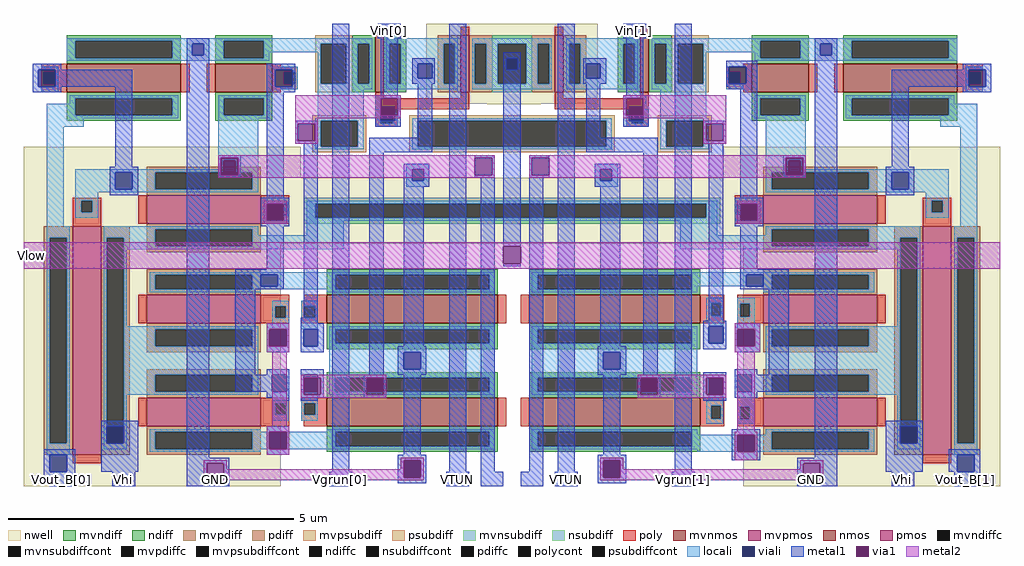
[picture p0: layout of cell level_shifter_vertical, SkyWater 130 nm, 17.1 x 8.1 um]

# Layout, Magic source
magic
tech sky130A
magscale 1 2
<< nwell >>
rect 8420 4490 9020 4770
rect 8633 4489 8821 4490
rect 7010 4230 7980 4340
rect 9460 4230 10430 4340
rect 7010 4000 10430 4230
rect 7010 3150 7910 4000
rect 9530 3150 10430 4000
<< nmos >>
rect 8240 4530 8270 4730
rect 9170 4530 9200 4730
<< pmos >>
rect 8540 4530 8570 4730
rect 8870 4530 8900 4730
<< mvnmos >>
rect 7160 4530 7560 4630
rect 7680 4530 7880 4630
rect 9560 4530 9760 4630
rect 9880 4530 10280 4630
rect 8070 3720 8670 3820
rect 8780 3720 9380 3820
rect 8070 3360 8670 3460
rect 8780 3360 9380 3460
<< mvpmos >>
rect 7440 4070 7840 4170
rect 9600 4070 10000 4170
rect 7180 3260 7280 4060
rect 7440 3720 7840 3820
rect 9600 3720 10000 3820
rect 7440 3360 7840 3460
rect 9600 3360 10000 3460
rect 10160 3260 10260 4060
<< ndiff >>
rect 8160 4700 8240 4730
rect 8160 4560 8180 4700
rect 8220 4560 8240 4700
rect 8160 4530 8240 4560
rect 8270 4700 8350 4730
rect 8270 4560 8290 4700
rect 8330 4560 8350 4700
rect 8270 4530 8350 4560
rect 9090 4700 9170 4730
rect 9090 4560 9110 4700
rect 9150 4560 9170 4700
rect 9090 4530 9170 4560
rect 9200 4700 9280 4730
rect 9200 4560 9220 4700
rect 9260 4560 9280 4700
rect 9200 4530 9280 4560
<< pdiff >>
rect 8460 4700 8540 4730
rect 8460 4560 8480 4700
rect 8520 4560 8540 4700
rect 8460 4530 8540 4560
rect 8570 4700 8650 4730
rect 8790 4700 8870 4730
rect 8570 4560 8590 4700
rect 8630 4560 8650 4700
rect 8790 4560 8810 4700
rect 8850 4560 8870 4700
rect 8570 4530 8650 4560
rect 8790 4530 8870 4560
rect 8900 4700 8980 4730
rect 8900 4560 8920 4700
rect 8960 4560 8980 4700
rect 8900 4530 8980 4560
<< mvndiff >>
rect 7160 4710 7560 4730
rect 7160 4650 7190 4710
rect 7530 4650 7560 4710
rect 7160 4630 7560 4650
rect 7680 4710 7880 4730
rect 7680 4650 7710 4710
rect 7850 4650 7880 4710
rect 7680 4630 7880 4650
rect 9560 4710 9760 4730
rect 9560 4650 9590 4710
rect 9730 4650 9760 4710
rect 9560 4630 9760 4650
rect 9880 4710 10280 4730
rect 9880 4650 9910 4710
rect 10250 4650 10280 4710
rect 9880 4630 10280 4650
rect 7160 4510 7560 4530
rect 7160 4450 7190 4510
rect 7530 4450 7560 4510
rect 7160 4430 7560 4450
rect 7680 4510 7880 4530
rect 7680 4450 7710 4510
rect 7850 4450 7880 4510
rect 7680 4430 7880 4450
rect 9560 4510 9760 4530
rect 9560 4450 9590 4510
rect 9730 4450 9760 4510
rect 9560 4430 9760 4450
rect 9880 4510 10280 4530
rect 9880 4450 9910 4510
rect 10250 4450 10280 4510
rect 9880 4430 10280 4450
rect 8070 3890 8670 3910
rect 8070 3840 8100 3890
rect 8640 3840 8670 3890
rect 8070 3820 8670 3840
rect 8780 3890 9380 3910
rect 8780 3840 8810 3890
rect 9350 3840 9380 3890
rect 8780 3820 9380 3840
rect 8070 3700 8670 3720
rect 8070 3650 8100 3700
rect 8640 3650 8670 3700
rect 8070 3630 8670 3650
rect 8780 3700 9380 3720
rect 8780 3650 8810 3700
rect 9350 3650 9380 3700
rect 8780 3630 9380 3650
rect 8070 3530 8670 3550
rect 8070 3480 8100 3530
rect 8640 3480 8670 3530
rect 8070 3460 8670 3480
rect 8780 3530 9380 3550
rect 8780 3480 8810 3530
rect 9350 3480 9380 3530
rect 8780 3460 9380 3480
rect 8070 3340 8670 3360
rect 8070 3290 8100 3340
rect 8640 3290 8670 3340
rect 8070 3270 8670 3290
rect 8780 3340 9380 3360
rect 8780 3290 8810 3340
rect 9350 3290 9380 3340
rect 8780 3270 9380 3290
<< mvpdiff >>
rect 7440 4250 7840 4270
rect 7440 4190 7470 4250
rect 7810 4190 7840 4250
rect 7440 4170 7840 4190
rect 9600 4250 10000 4270
rect 9600 4190 9630 4250
rect 9970 4190 10000 4250
rect 9600 4170 10000 4190
rect 7080 4020 7180 4060
rect 7080 3300 7100 4020
rect 7160 3300 7180 4020
rect 7080 3260 7180 3300
rect 7280 4020 7380 4060
rect 7280 3300 7300 4020
rect 7360 3300 7380 4020
rect 7440 4050 7840 4070
rect 7440 3990 7470 4050
rect 7810 3990 7840 4050
rect 7440 3970 7840 3990
rect 9600 4050 10000 4070
rect 9600 3990 9630 4050
rect 9970 3990 10000 4050
rect 9600 3970 10000 3990
rect 10060 4020 10160 4060
rect 7440 3890 7840 3910
rect 7440 3840 7470 3890
rect 7810 3840 7840 3890
rect 7440 3820 7840 3840
rect 9600 3890 10000 3910
rect 9600 3840 9630 3890
rect 9970 3840 10000 3890
rect 9600 3820 10000 3840
rect 7440 3700 7840 3720
rect 7440 3640 7470 3700
rect 7810 3640 7840 3700
rect 7440 3620 7840 3640
rect 9600 3700 10000 3720
rect 9600 3640 9630 3700
rect 9970 3640 10000 3700
rect 9600 3620 10000 3640
rect 7440 3540 7840 3560
rect 7440 3480 7470 3540
rect 7810 3480 7840 3540
rect 7440 3460 7840 3480
rect 9600 3540 10000 3560
rect 9600 3480 9630 3540
rect 9970 3480 10000 3540
rect 9600 3460 10000 3480
rect 7280 3260 7380 3300
rect 7440 3340 7840 3360
rect 7440 3280 7470 3340
rect 7810 3280 7840 3340
rect 7440 3260 7840 3280
rect 9600 3340 10000 3360
rect 9600 3280 9630 3340
rect 9970 3280 10000 3340
rect 9600 3260 10000 3280
rect 10060 3300 10080 4020
rect 10140 3300 10160 4020
rect 10060 3260 10160 3300
rect 10260 4020 10360 4060
rect 10260 3300 10280 4020
rect 10340 3300 10360 4020
rect 10260 3260 10360 3300
<< ndiffc >>
rect 8180 4560 8220 4700
rect 8290 4560 8330 4700
rect 9110 4560 9150 4700
rect 9220 4560 9260 4700
<< pdiffc >>
rect 8480 4560 8520 4700
rect 8590 4560 8630 4700
rect 8810 4560 8850 4700
rect 8920 4560 8960 4700
<< mvndiffc >>
rect 7190 4650 7530 4710
rect 7710 4650 7850 4710
rect 9590 4650 9730 4710
rect 9910 4650 10250 4710
rect 7190 4450 7530 4510
rect 7710 4450 7850 4510
rect 9590 4450 9730 4510
rect 9910 4450 10250 4510
rect 8100 3840 8640 3890
rect 8810 3840 9350 3890
rect 8100 3650 8640 3700
rect 8810 3650 9350 3700
rect 8100 3480 8640 3530
rect 8810 3480 9350 3530
rect 8100 3290 8640 3340
rect 8810 3290 9350 3340
<< mvpdiffc >>
rect 7470 4190 7810 4250
rect 9630 4190 9970 4250
rect 7100 3300 7160 4020
rect 7300 3300 7360 4020
rect 7470 3990 7810 4050
rect 9630 3990 9970 4050
rect 7470 3840 7810 3890
rect 9630 3840 9970 3890
rect 7470 3640 7810 3700
rect 9630 3640 9970 3700
rect 7470 3480 7810 3540
rect 9630 3480 9970 3540
rect 7470 3280 7810 3340
rect 9630 3280 9970 3340
rect 10080 3300 10140 4020
rect 10280 3300 10340 4020
<< psubdiff >>
rect 8030 4700 8160 4730
rect 8030 4560 8050 4700
rect 8140 4560 8160 4700
rect 8030 4530 8160 4560
rect 9280 4700 9410 4730
rect 9280 4560 9300 4700
rect 9390 4560 9410 4700
rect 9280 4530 9410 4560
<< nsubdiff >>
rect 8650 4700 8790 4730
rect 8650 4560 8670 4700
rect 8770 4560 8790 4700
rect 8650 4530 8790 4560
<< mvpsubdiff >>
rect 8020 4430 8210 4450
rect 8020 4340 8050 4430
rect 8180 4340 8210 4430
rect 8360 4430 9080 4450
rect 8020 4320 8210 4340
rect 8360 4340 8390 4430
rect 9050 4340 9080 4430
rect 9230 4430 9420 4450
rect 8360 4320 9080 4340
rect 9230 4340 9260 4430
rect 9390 4340 9420 4430
rect 9230 4320 9420 4340
<< mvnsubdiff >>
rect 7990 4140 9450 4160
rect 7990 4090 8030 4140
rect 9400 4090 9450 4140
rect 7990 4070 9450 4090
<< psubdiffcont >>
rect 8050 4560 8140 4700
rect 9300 4560 9390 4700
<< nsubdiffcont >>
rect 8670 4560 8770 4700
<< mvpsubdiffcont >>
rect 8050 4340 8180 4430
rect 8390 4340 9050 4430
rect 9260 4340 9390 4430
<< mvnsubdiffcont >>
rect 8030 4090 9400 4140
<< poly >>
rect 8240 4730 8270 4760
rect 8540 4730 8570 4760
rect 8870 4730 8900 4760
rect 9170 4730 9200 4760
rect 7070 4600 7160 4630
rect 7070 4560 7080 4600
rect 7120 4560 7160 4600
rect 7070 4530 7160 4560
rect 7560 4530 7590 4630
rect 7650 4530 7680 4630
rect 7880 4620 7910 4630
rect 7880 4600 7970 4620
rect 7880 4560 7922 4600
rect 7960 4560 7970 4600
rect 7880 4540 7970 4560
rect 7880 4530 7910 4540
rect 9530 4620 9560 4630
rect 9470 4600 9560 4620
rect 9470 4560 9480 4600
rect 9518 4560 9560 4600
rect 9470 4540 9560 4560
rect 9530 4530 9560 4540
rect 9760 4530 9790 4630
rect 9850 4530 9880 4630
rect 10280 4600 10370 4630
rect 10280 4560 10320 4600
rect 10360 4560 10370 4600
rect 10280 4530 10370 4560
rect 8240 4510 8270 4530
rect 8540 4510 8570 4530
rect 8240 4470 8570 4510
rect 8870 4510 8900 4530
rect 9170 4510 9200 4530
rect 8870 4470 9200 4510
rect 8240 4460 8320 4470
rect 8240 4422 8260 4460
rect 8300 4422 8320 4460
rect 9120 4460 9200 4470
rect 8240 4410 8320 4422
rect 9120 4422 9140 4460
rect 9180 4422 9200 4460
rect 9120 4410 9200 4422
rect 7180 4150 7280 4160
rect 7180 4110 7210 4150
rect 7250 4110 7280 4150
rect 7180 4060 7280 4110
rect 7410 4070 7440 4170
rect 7840 4140 7940 4170
rect 7840 4100 7890 4140
rect 7930 4100 7940 4140
rect 7840 4070 7940 4100
rect 9500 4140 9600 4170
rect 9500 4100 9510 4140
rect 9550 4100 9600 4140
rect 9500 4070 9600 4100
rect 10000 4070 10030 4170
rect 10160 4150 10260 4160
rect 10160 4110 10190 4150
rect 10230 4110 10260 4150
rect 10160 4060 10260 4110
rect 7410 3720 7440 3820
rect 7840 3780 7940 3820
rect 7990 3800 8070 3820
rect 7840 3740 7890 3780
rect 7928 3740 7940 3780
rect 7840 3720 7940 3740
rect 7982 3780 8070 3800
rect 7982 3740 7992 3780
rect 8030 3740 8070 3780
rect 7982 3720 8070 3740
rect 8670 3720 8700 3820
rect 8750 3720 8780 3820
rect 9380 3791 9463 3820
rect 9380 3747 9418 3791
rect 9452 3747 9463 3791
rect 9380 3720 9463 3747
rect 9509 3789 9600 3820
rect 9509 3744 9519 3789
rect 9553 3744 9600 3789
rect 9509 3720 9600 3744
rect 10000 3720 10030 3820
rect 7410 3360 7440 3460
rect 7840 3440 7940 3460
rect 7840 3400 7890 3440
rect 7928 3400 7940 3440
rect 7840 3360 7940 3400
rect 7982 3440 8070 3460
rect 7982 3400 7992 3440
rect 8030 3400 8070 3440
rect 7982 3380 8070 3400
rect 7990 3360 8070 3380
rect 8670 3360 8700 3460
rect 8750 3360 8780 3460
rect 9380 3431 9463 3460
rect 9380 3387 9418 3431
rect 9452 3387 9463 3431
rect 9380 3360 9463 3387
rect 9509 3429 9600 3460
rect 9509 3384 9519 3429
rect 9553 3384 9600 3429
rect 9509 3360 9600 3384
rect 10000 3360 10030 3460
rect 7180 3230 7280 3260
rect 10160 3230 10260 3260
<< polycont >>
rect 7080 4560 7120 4600
rect 7922 4560 7960 4600
rect 9480 4560 9518 4600
rect 10320 4560 10360 4600
rect 8260 4422 8300 4460
rect 9140 4422 9180 4460
rect 7210 4110 7250 4150
rect 7890 4100 7930 4140
rect 9510 4100 9550 4140
rect 10190 4110 10230 4150
rect 7890 3740 7928 3780
rect 7992 3740 8030 3780
rect 9418 3747 9452 3791
rect 9519 3744 9553 3789
rect 7890 3400 7928 3440
rect 7992 3400 8030 3440
rect 9418 3387 9452 3431
rect 9519 3384 9553 3429
<< locali >>
rect 7160 4710 8230 4720
rect 7160 4650 7190 4710
rect 7530 4700 7710 4710
rect 7530 4660 7600 4700
rect 7640 4660 7710 4700
rect 7530 4650 7710 4660
rect 7850 4700 8230 4710
rect 7850 4670 8050 4700
rect 7850 4650 7870 4670
rect 7160 4640 7870 4650
rect 7070 4610 7130 4620
rect 7910 4610 7970 4620
rect 7120 4550 7130 4610
rect 7950 4600 7970 4610
rect 7960 4560 7970 4600
rect 7950 4550 7970 4560
rect 7070 4530 7130 4550
rect 7910 4540 7970 4550
rect 8040 4560 8050 4670
rect 8140 4560 8180 4700
rect 8220 4560 8230 4700
rect 8040 4540 8230 4560
rect 8280 4700 8530 4720
rect 8280 4560 8290 4700
rect 8330 4630 8480 4700
rect 8330 4580 8390 4630
rect 8440 4580 8480 4630
rect 8330 4560 8480 4580
rect 8520 4560 8530 4700
rect 8280 4540 8530 4560
rect 8580 4700 8860 4720
rect 8580 4560 8590 4700
rect 8630 4560 8670 4700
rect 8770 4560 8810 4700
rect 8850 4560 8860 4700
rect 8580 4540 8860 4560
rect 8910 4700 9160 4720
rect 8910 4560 8920 4700
rect 8960 4630 9110 4700
rect 8960 4580 8980 4630
rect 9030 4580 9110 4630
rect 8960 4560 9110 4580
rect 9150 4560 9160 4700
rect 8910 4540 9160 4560
rect 9210 4710 10280 4720
rect 9210 4700 9590 4710
rect 9210 4560 9220 4700
rect 9260 4560 9300 4700
rect 9390 4670 9590 4700
rect 9390 4560 9400 4670
rect 9570 4650 9590 4670
rect 9730 4700 9910 4710
rect 9730 4660 9800 4700
rect 9840 4660 9910 4700
rect 9730 4650 9910 4660
rect 10250 4650 10280 4710
rect 9570 4640 10280 4650
rect 9210 4540 9400 4560
rect 9470 4560 9480 4620
rect 10310 4610 10370 4620
rect 9470 4540 9530 4560
rect 10310 4550 10320 4610
rect 7170 4510 7550 4520
rect 7170 4490 7190 4510
rect 7090 4450 7190 4490
rect 7530 4450 7550 4510
rect 7090 4440 7550 4450
rect 7690 4510 7870 4520
rect 7690 4450 7710 4510
rect 7850 4450 7870 4510
rect 7690 4440 7870 4450
rect 8040 4440 8200 4540
rect 7090 4410 7220 4440
rect 7090 4060 7150 4410
rect 7690 4290 7830 4440
rect 8030 4430 8200 4440
rect 8030 4340 8050 4430
rect 8180 4340 8200 4430
rect 8240 4422 8260 4470
rect 8310 4430 8320 4470
rect 8300 4422 8320 4430
rect 8240 4410 8320 4422
rect 8370 4430 9070 4440
rect 8030 4330 8200 4340
rect 8370 4340 8390 4430
rect 9050 4340 9070 4430
rect 9120 4430 9130 4470
rect 9120 4422 9140 4430
rect 9180 4422 9200 4470
rect 9120 4410 9200 4422
rect 9240 4440 9400 4540
rect 10310 4530 10370 4550
rect 9570 4510 9750 4520
rect 9570 4450 9590 4510
rect 9730 4450 9750 4510
rect 9570 4440 9750 4450
rect 9890 4510 10270 4520
rect 9890 4450 9910 4510
rect 10250 4490 10270 4510
rect 10250 4450 10350 4490
rect 9890 4440 10350 4450
rect 9240 4430 9410 4440
rect 8370 4330 9070 4340
rect 9240 4340 9260 4430
rect 9390 4340 9410 4430
rect 9240 4330 9410 4340
rect 7690 4260 7710 4290
rect 7190 4250 7710 4260
rect 7750 4250 7830 4290
rect 9610 4290 9750 4440
rect 10220 4410 10350 4440
rect 7190 4190 7330 4250
rect 7390 4190 7470 4250
rect 7810 4190 7830 4250
rect 8350 4260 8430 4280
rect 8350 4220 8370 4260
rect 8410 4220 8430 4260
rect 8350 4200 8430 4220
rect 9010 4260 9090 4280
rect 9010 4220 9030 4260
rect 9070 4220 9090 4260
rect 9010 4200 9090 4220
rect 9610 4250 9690 4290
rect 9730 4260 9750 4290
rect 9730 4250 10250 4260
rect 7190 4180 7830 4190
rect 9610 4190 9630 4250
rect 9970 4190 10050 4250
rect 10110 4190 10250 4250
rect 9610 4180 10250 4190
rect 7190 4150 7270 4180
rect 7190 4110 7210 4150
rect 7250 4110 7270 4150
rect 7190 4090 7270 4110
rect 7860 4140 7940 4160
rect 7930 4100 7940 4140
rect 7920 4080 7940 4100
rect 8000 4140 9440 4150
rect 8000 4090 8030 4140
rect 9400 4090 9440 4140
rect 8000 4080 9440 4090
rect 9500 4140 9580 4160
rect 9500 4100 9510 4140
rect 9500 4080 9520 4100
rect 10170 4150 10250 4180
rect 10170 4110 10190 4150
rect 10230 4110 10250 4150
rect 10170 4090 10250 4110
rect 7090 4020 7170 4060
rect 7090 3300 7100 4020
rect 7160 3300 7170 4020
rect 7090 3260 7170 3300
rect 7290 4050 7830 4060
rect 7290 4020 7470 4050
rect 7290 3300 7300 4020
rect 7360 3990 7470 4020
rect 7810 4030 7830 4050
rect 8000 4030 8130 4080
rect 7810 3990 8130 4030
rect 7360 3980 8130 3990
rect 9310 4030 9440 4080
rect 10290 4060 10350 4410
rect 9610 4050 10150 4060
rect 9610 4030 9630 4050
rect 9310 3990 9630 4030
rect 9970 4020 10150 4050
rect 9970 3990 10080 4020
rect 9310 3980 10080 3990
rect 7360 3710 7370 3980
rect 7450 3890 8660 3900
rect 7450 3840 7470 3890
rect 7810 3850 7840 3890
rect 7900 3850 8100 3890
rect 7810 3840 8100 3850
rect 8640 3840 8660 3890
rect 7450 3830 7840 3840
rect 8070 3830 8660 3840
rect 8790 3890 9990 3900
rect 8790 3840 8810 3890
rect 9350 3850 9540 3890
rect 9350 3840 9370 3850
rect 8790 3830 9370 3840
rect 9600 3840 9630 3890
rect 9970 3840 9990 3890
rect 9600 3830 9990 3840
rect 7880 3780 7938 3800
rect 7880 3740 7890 3780
rect 7928 3740 7938 3780
rect 7982 3780 8040 3800
rect 7982 3740 7992 3780
rect 8030 3740 8040 3780
rect 7360 3700 7830 3710
rect 7880 3700 7940 3740
rect 7980 3700 8040 3740
rect 9400 3791 9460 3810
rect 9400 3747 9418 3791
rect 9452 3747 9460 3791
rect 9400 3729 9460 3747
rect 9410 3710 9460 3729
rect 7360 3640 7470 3700
rect 7810 3640 7830 3700
rect 8080 3700 8660 3710
rect 8080 3650 8100 3700
rect 8640 3650 8660 3700
rect 7360 3540 7830 3640
rect 8080 3620 8660 3650
rect 8080 3560 8340 3620
rect 8400 3560 8660 3620
rect 7360 3480 7470 3540
rect 7810 3480 7830 3540
rect 7360 3470 7830 3480
rect 7930 3480 7940 3490
rect 7360 3300 7370 3470
rect 7880 3450 7940 3480
rect 7980 3480 7990 3490
rect 7980 3450 8040 3480
rect 8080 3530 8660 3560
rect 8080 3480 8100 3530
rect 8640 3480 8660 3530
rect 8080 3470 8660 3480
rect 8790 3700 9370 3710
rect 8790 3650 8810 3700
rect 9350 3650 9370 3700
rect 9510 3789 9570 3810
rect 9510 3744 9519 3789
rect 9553 3744 9570 3789
rect 9510 3700 9570 3744
rect 10070 3710 10080 3980
rect 8790 3620 9370 3650
rect 9610 3700 10080 3710
rect 9610 3640 9630 3700
rect 9970 3640 10080 3700
rect 8790 3560 9040 3620
rect 9100 3560 9370 3620
rect 8790 3530 9370 3560
rect 9610 3540 10080 3640
rect 8790 3480 8810 3530
rect 9350 3480 9370 3530
rect 8790 3470 9370 3480
rect 9410 3450 9460 3470
rect 7880 3440 7938 3450
rect 7880 3400 7890 3440
rect 7928 3400 7938 3440
rect 7880 3380 7938 3400
rect 7982 3440 8040 3450
rect 7982 3400 7992 3440
rect 8030 3400 8040 3440
rect 7982 3380 8040 3400
rect 9400 3431 9460 3450
rect 9400 3387 9418 3431
rect 9452 3387 9460 3431
rect 9400 3369 9460 3387
rect 9510 3450 9560 3480
rect 9610 3480 9630 3540
rect 9970 3480 10080 3540
rect 9610 3470 10080 3480
rect 9510 3429 9570 3450
rect 9510 3384 9519 3429
rect 9553 3384 9570 3429
rect 9510 3368 9570 3384
rect 7290 3280 7370 3300
rect 7450 3340 7840 3350
rect 8070 3340 8660 3350
rect 7450 3280 7470 3340
rect 7810 3280 7870 3340
rect 7930 3290 8100 3340
rect 8640 3290 8660 3340
rect 7930 3280 8660 3290
rect 8790 3340 9370 3350
rect 9610 3340 9990 3350
rect 8790 3290 8810 3340
rect 9350 3330 9371 3340
rect 9610 3330 9630 3340
rect 9350 3290 9510 3330
rect 8790 3280 9510 3290
rect 7450 3270 7840 3280
rect 9370 3270 9510 3280
rect 9570 3280 9630 3330
rect 9970 3280 9990 3340
rect 10070 3300 10080 3470
rect 10140 3300 10150 4020
rect 10070 3280 10150 3300
rect 10270 4020 10350 4060
rect 10270 3300 10280 4020
rect 10340 3300 10350 4020
rect 9570 3270 9990 3280
rect 10270 3260 10350 3300
<< viali >>
rect 7600 4660 7640 4700
rect 7060 4600 7120 4610
rect 7060 4560 7080 4600
rect 7080 4560 7120 4600
rect 7060 4550 7120 4560
rect 7890 4600 7950 4610
rect 7890 4560 7922 4600
rect 7922 4560 7950 4600
rect 7890 4550 7950 4560
rect 8390 4580 8440 4630
rect 8700 4610 8740 4650
rect 8980 4580 9030 4630
rect 9800 4660 9840 4700
rect 9480 4600 9540 4620
rect 9480 4560 9518 4600
rect 9518 4560 9540 4600
rect 10320 4600 10380 4610
rect 10320 4560 10360 4600
rect 10360 4560 10380 4600
rect 10320 4550 10380 4560
rect 8260 4460 8310 4480
rect 8260 4430 8300 4460
rect 8300 4430 8310 4460
rect 9130 4460 9180 4480
rect 9130 4430 9140 4460
rect 9140 4430 9180 4460
rect 7710 4250 7750 4290
rect 7330 4190 7390 4250
rect 8370 4220 8410 4260
rect 9030 4220 9070 4260
rect 9690 4250 9730 4290
rect 10050 4190 10110 4250
rect 7860 4100 7890 4140
rect 7890 4100 7920 4140
rect 7860 4080 7920 4100
rect 9520 4100 9550 4140
rect 9550 4100 9580 4140
rect 9520 4080 9580 4100
rect 7840 3850 7900 3890
rect 9540 3850 9600 3890
rect 7870 3640 7930 3700
rect 7990 3640 8040 3700
rect 8340 3560 8400 3620
rect 7880 3480 7930 3540
rect 7300 3300 7360 3360
rect 7990 3480 8040 3540
rect 9410 3650 9460 3710
rect 9510 3640 9570 3700
rect 9040 3560 9100 3620
rect 9410 3470 9460 3530
rect 9510 3480 9560 3540
rect 7870 3280 7930 3340
rect 9510 3270 9570 3330
rect 10080 3300 10140 3360
rect 7100 3200 7160 3260
rect 8340 3180 8400 3240
rect 9040 3180 9100 3240
rect 10280 3200 10340 3260
<< metal1 >>
rect 7580 4700 7660 4720
rect 7580 4660 7600 4700
rect 7640 4660 7660 4700
rect 7040 4610 7140 4630
rect 7040 4550 7060 4610
rect 7120 4550 7390 4610
rect 7040 4530 7140 4550
rect 7330 4270 7390 4550
rect 7310 4250 7410 4270
rect 7310 4190 7330 4250
rect 7390 4190 7410 4250
rect 7310 4170 7410 4190
rect 7280 3360 7410 3380
rect 7280 3300 7300 3360
rect 7360 3300 7410 3360
rect 7080 3260 7190 3280
rect 7080 3200 7100 3260
rect 7160 3200 7190 3260
rect 7280 3200 7410 3300
rect 7580 3250 7660 4660
rect 7860 4610 7960 4630
rect 7860 4550 7890 4610
rect 7950 4550 7960 4610
rect 7860 4530 7960 4550
rect 7690 4300 7770 4310
rect 7690 4240 7700 4300
rect 7760 4240 7770 4300
rect 7690 4230 7770 4240
rect 7860 4160 7920 4530
rect 7960 4420 8040 4430
rect 7960 4360 7970 4420
rect 8030 4360 8040 4420
rect 7960 4350 8040 4360
rect 7840 4140 7940 4160
rect 7840 4080 7860 4140
rect 7920 4080 7940 4140
rect 7840 4060 7940 4080
rect 7860 3910 7920 4060
rect 7750 3890 7920 3910
rect 7750 3850 7840 3890
rect 7900 3850 7920 3890
rect 7750 3840 7920 3850
rect 7750 3540 7820 3840
rect 7990 3740 8040 4350
rect 7980 3720 8040 3740
rect 7860 3700 7940 3720
rect 7860 3640 7870 3700
rect 7930 3640 7940 3700
rect 7860 3620 7940 3640
rect 7980 3700 8060 3720
rect 7980 3640 7990 3700
rect 8040 3640 8060 3700
rect 7980 3620 8060 3640
rect 7860 3540 7940 3560
rect 7750 3480 7880 3540
rect 7930 3480 7940 3540
rect 7860 3460 7940 3480
rect 7880 3450 7940 3460
rect 7980 3540 8060 3560
rect 7980 3470 7990 3540
rect 8040 3530 8060 3540
rect 8050 3470 8060 3530
rect 7980 3460 8060 3470
rect 7980 3450 8040 3460
rect 7860 3340 7940 3360
rect 7860 3280 7870 3340
rect 7930 3280 7940 3340
rect 7860 3260 7940 3280
rect 7580 3230 7730 3250
rect 7080 3190 7190 3200
rect 7080 3180 7180 3190
rect 7100 3150 7180 3180
rect 7320 3150 7400 3200
rect 7580 3170 7650 3230
rect 7710 3170 7730 3230
rect 8090 3200 8150 4770
rect 8250 4720 8330 4770
rect 8260 4520 8320 4720
rect 8370 4630 8450 4650
rect 8370 4580 8390 4630
rect 8440 4580 8450 4630
rect 8370 4560 8450 4580
rect 8240 4510 8330 4520
rect 8240 4430 8260 4510
rect 8320 4450 8330 4510
rect 8310 4430 8330 4450
rect 8240 4410 8330 4430
rect 8390 4370 8440 4560
rect 8220 4320 8440 4370
rect 8220 3540 8270 4320
rect 8340 4260 8430 4280
rect 8340 4220 8370 4260
rect 8410 4220 8430 4260
rect 8340 4200 8430 4220
rect 8340 3640 8410 4200
rect 8320 3620 8420 3640
rect 8320 3560 8340 3620
rect 8400 3560 8420 3620
rect 8320 3540 8420 3560
rect 8200 3530 8280 3540
rect 8200 3470 8210 3530
rect 8270 3470 8280 3530
rect 8200 3460 8280 3470
rect 8340 3260 8400 3540
rect 8320 3240 8420 3260
rect 7580 3150 7730 3170
rect 8080 3150 8160 3200
rect 8320 3180 8340 3240
rect 8400 3180 8420 3240
rect 8500 3200 8560 4770
rect 8690 4650 8750 4670
rect 8690 4610 8700 4650
rect 8740 4610 8750 4650
rect 8590 4300 8660 4310
rect 8650 4240 8660 4300
rect 8590 4230 8660 4240
rect 8610 3200 8660 4230
rect 8690 3990 8750 4610
rect 8690 3920 8750 3930
rect 8780 4300 8850 4310
rect 8780 4240 8790 4300
rect 8780 4230 8850 4240
rect 8780 3200 8830 4230
rect 8880 3200 8940 4770
rect 9110 4720 9190 4770
rect 8970 4630 9050 4650
rect 8970 4580 8980 4630
rect 9030 4580 9050 4630
rect 8970 4560 9050 4580
rect 8980 4370 9030 4560
rect 9120 4520 9180 4720
rect 9110 4510 9190 4520
rect 9110 4450 9120 4510
rect 9180 4480 9190 4510
rect 9110 4430 9130 4450
rect 9180 4430 9200 4480
rect 9110 4410 9200 4430
rect 8980 4320 9230 4370
rect 9010 4260 9100 4280
rect 9010 4220 9030 4260
rect 9070 4220 9100 4260
rect 9010 4200 9100 4220
rect 9030 3640 9100 4200
rect 9020 3620 9120 3640
rect 9020 3560 9040 3620
rect 9100 3560 9120 3620
rect 9020 3540 9120 3560
rect 9180 3540 9230 4320
rect 9040 3260 9100 3540
rect 9160 3530 9240 3540
rect 9160 3470 9170 3530
rect 9230 3470 9240 3530
rect 9160 3460 9240 3470
rect 9020 3240 9120 3260
rect 8320 3160 8420 3180
rect 8490 3150 8570 3200
rect 8610 3150 8690 3200
rect 8750 3150 8830 3200
rect 8870 3150 8950 3200
rect 9020 3180 9040 3240
rect 9100 3180 9120 3240
rect 9290 3200 9350 4770
rect 9780 4700 9860 4720
rect 9780 4660 9800 4700
rect 9840 4660 9860 4700
rect 9470 4620 9580 4640
rect 9470 4560 9480 4620
rect 9540 4560 9580 4620
rect 9470 4550 9580 4560
rect 9480 4540 9580 4550
rect 9390 4420 9470 4430
rect 9390 4360 9400 4420
rect 9460 4360 9470 4420
rect 9390 4350 9470 4360
rect 9410 3730 9460 4350
rect 9520 4160 9580 4540
rect 9670 4300 9750 4310
rect 9670 4240 9680 4300
rect 9740 4240 9750 4300
rect 9670 4230 9750 4240
rect 9500 4140 9600 4160
rect 9500 4080 9520 4140
rect 9580 4080 9600 4140
rect 9500 4060 9600 4080
rect 9520 3910 9580 4060
rect 9520 3890 9690 3910
rect 9520 3850 9540 3890
rect 9600 3850 9690 3890
rect 9520 3840 9690 3850
rect 9390 3710 9470 3730
rect 9390 3650 9410 3710
rect 9460 3650 9470 3710
rect 9390 3630 9470 3650
rect 9500 3700 9590 3720
rect 9500 3640 9510 3700
rect 9570 3640 9590 3700
rect 9500 3620 9590 3640
rect 9390 3530 9470 3550
rect 9390 3470 9400 3530
rect 9460 3470 9470 3530
rect 9390 3450 9470 3470
rect 9500 3540 9580 3560
rect 9620 3540 9690 3840
rect 9500 3480 9510 3540
rect 9560 3480 9690 3540
rect 9500 3460 9580 3480
rect 9490 3330 9590 3350
rect 9490 3270 9510 3330
rect 9570 3270 9590 3330
rect 9490 3240 9590 3270
rect 9780 3250 9860 4660
rect 10300 4610 10400 4630
rect 10050 4550 10320 4610
rect 10380 4550 10400 4610
rect 10050 4270 10110 4550
rect 10300 4530 10400 4550
rect 10030 4250 10130 4270
rect 10030 4190 10050 4250
rect 10110 4190 10130 4250
rect 10030 4170 10130 4190
rect 9720 3230 9860 3250
rect 9020 3160 9120 3180
rect 9280 3150 9360 3200
rect 9720 3170 9740 3230
rect 9800 3170 9860 3230
rect 10030 3360 10160 3380
rect 10030 3300 10080 3360
rect 10140 3300 10160 3360
rect 10030 3200 10160 3300
rect 10250 3260 10360 3280
rect 10250 3200 10280 3260
rect 10340 3200 10360 3260
rect 9720 3150 9860 3170
rect 10050 3150 10130 3200
rect 10270 3180 10360 3200
rect 10270 3150 10350 3180
<< via1 >>
rect 7700 4290 7760 4300
rect 7700 4250 7710 4290
rect 7710 4250 7750 4290
rect 7750 4250 7760 4290
rect 7700 4240 7760 4250
rect 7970 4360 8030 4420
rect 7860 4080 7920 4140
rect 7870 3640 7930 3700
rect 7990 3480 8040 3530
rect 8040 3480 8050 3530
rect 7990 3470 8050 3480
rect 7870 3280 7930 3340
rect 7650 3170 7710 3230
rect 8260 4480 8320 4510
rect 8260 4450 8310 4480
rect 8310 4450 8320 4480
rect 8210 3470 8270 3530
rect 8340 3180 8400 3240
rect 8590 4240 8650 4300
rect 8690 3930 8750 3990
rect 8790 4240 8850 4300
rect 9120 4480 9180 4510
rect 9120 4450 9130 4480
rect 9130 4450 9180 4480
rect 9170 3470 9230 3530
rect 9040 3180 9100 3240
rect 9400 4360 9460 4420
rect 9680 4290 9740 4300
rect 9680 4250 9690 4290
rect 9690 4250 9730 4290
rect 9730 4250 9740 4290
rect 9680 4240 9740 4250
rect 9520 4080 9580 4140
rect 9510 3640 9570 3700
rect 9400 3470 9410 3530
rect 9410 3470 9460 3530
rect 9510 3270 9570 3330
rect 9740 3170 9800 3230
<< metal2 >>
rect 7960 4510 8330 4520
rect 7960 4450 8260 4510
rect 8320 4450 8330 4510
rect 7960 4440 8330 4450
rect 9110 4510 9470 4520
rect 9110 4450 9120 4510
rect 9180 4450 9470 4510
rect 9110 4440 9470 4450
rect 7960 4420 8040 4440
rect 7960 4360 7970 4420
rect 8030 4360 8040 4420
rect 7960 4350 8040 4360
rect 9390 4420 9470 4440
rect 9390 4360 9400 4420
rect 9460 4360 9470 4420
rect 9390 4350 9470 4360
rect 7690 4300 8660 4310
rect 7690 4240 7700 4300
rect 7760 4240 8590 4300
rect 8650 4240 8660 4300
rect 7690 4230 8660 4240
rect 8780 4300 9750 4310
rect 8780 4240 8790 4300
rect 8850 4240 9680 4300
rect 9740 4240 9750 4300
rect 8780 4230 9750 4240
rect 7850 4140 7930 4150
rect 7850 4080 7860 4140
rect 7920 4080 7930 4140
rect 7850 4070 7930 4080
rect 9510 4140 9590 4150
rect 9510 4080 9520 4140
rect 9580 4080 9590 4140
rect 9510 4070 9590 4080
rect 7010 3990 10430 4004
rect 7010 3930 8690 3990
rect 8750 3930 10430 3990
rect 7010 3912 10430 3930
rect 7860 3700 7940 3720
rect 7860 3640 7870 3700
rect 7930 3640 7940 3700
rect 7860 3620 7940 3640
rect 9500 3700 9590 3720
rect 9500 3640 9510 3700
rect 9570 3640 9590 3700
rect 9500 3620 9590 3640
rect 7880 3360 7930 3620
rect 7980 3530 8280 3540
rect 7980 3470 7990 3530
rect 8050 3470 8210 3530
rect 8270 3470 8280 3530
rect 7980 3460 8280 3470
rect 9160 3530 9470 3540
rect 9160 3470 9170 3530
rect 9230 3470 9400 3530
rect 9460 3470 9470 3530
rect 9160 3460 9470 3470
rect 7860 3340 7940 3360
rect 9510 3340 9570 3620
rect 7860 3280 7870 3340
rect 7930 3280 7940 3340
rect 7860 3260 7940 3280
rect 9500 3330 9580 3340
rect 9500 3270 9510 3330
rect 9570 3270 9580 3330
rect 8330 3240 8410 3250
rect 7640 3230 7720 3240
rect 7640 3170 7650 3230
rect 7710 3210 7720 3230
rect 8330 3210 8340 3240
rect 7710 3180 8340 3210
rect 8400 3180 8410 3240
rect 7710 3170 8410 3180
rect 9030 3240 9110 3250
rect 9500 3240 9580 3270
rect 9030 3180 9040 3240
rect 9100 3210 9110 3240
rect 9730 3230 9810 3240
rect 9730 3210 9740 3230
rect 9100 3180 9740 3210
rect 9030 3170 9740 3180
rect 9800 3170 9810 3230
rect 7640 3160 7720 3170
rect 9730 3160 9810 3170
<< labels >>
flabel metal1 7320 3150 7400 3200 0 FreeSans 120 0 0 0 Vhi
port 3 nsew
flabel metal1 10050 3150 10130 3200 0 FreeSans 120 180 0 0 Vhi
port 3 nsew
flabel metal1 8080 3150 8160 3200 0 FreeSans 120 0 0 0 Vgrun[0]
port 1 nsew
flabel metal1 8490 3150 8570 3200 0 FreeSans 120 0 0 0 VTUN
port 11 nsew
flabel metal1 9280 3150 9360 3200 0 FreeSans 120 0 0 0 Vgrun[1]
port 2 nsew
flabel metal1 8870 3150 8950 3200 0 FreeSans 120 0 0 0 VTUN
port 11 nsew
flabel metal1 8250 4720 8330 4770 0 FreeSans 120 0 0 0 Vin[0]
port 4 nsew
flabel metal1 9110 4720 9190 4770 0 FreeSans 120 0 0 0 Vin[1]
port 5 nsew
flabel metal1 8610 3150 8690 3200 0 FreeSans 120 0 0 0 Vout[0]
port 7 nsew
flabel metal1 8750 3150 8830 3200 0 FreeSans 120 0 0 0 Vout[1]
port 8 nsew
flabel metal2 7010 3912 7060 4004 0 FreeSans 120 0 0 0 Vlow
port 6 nsew
flabel metal1 9730 3150 9810 3200 0 FreeSans 120 0 0 0 GND
port 0 nsew
flabel metal1 7640 3150 7720 3200 0 FreeSans 120 0 0 0 GND
port 0 nsew
flabel metal1 7100 3150 7180 3200 0 FreeSans 120 0 0 0 Vout_B[0]
port 9 nsew
flabel metal1 10270 3150 10350 3200 0 FreeSans 120 0 0 0 Vout_B[1]
port 10 nsew
<< end >>
